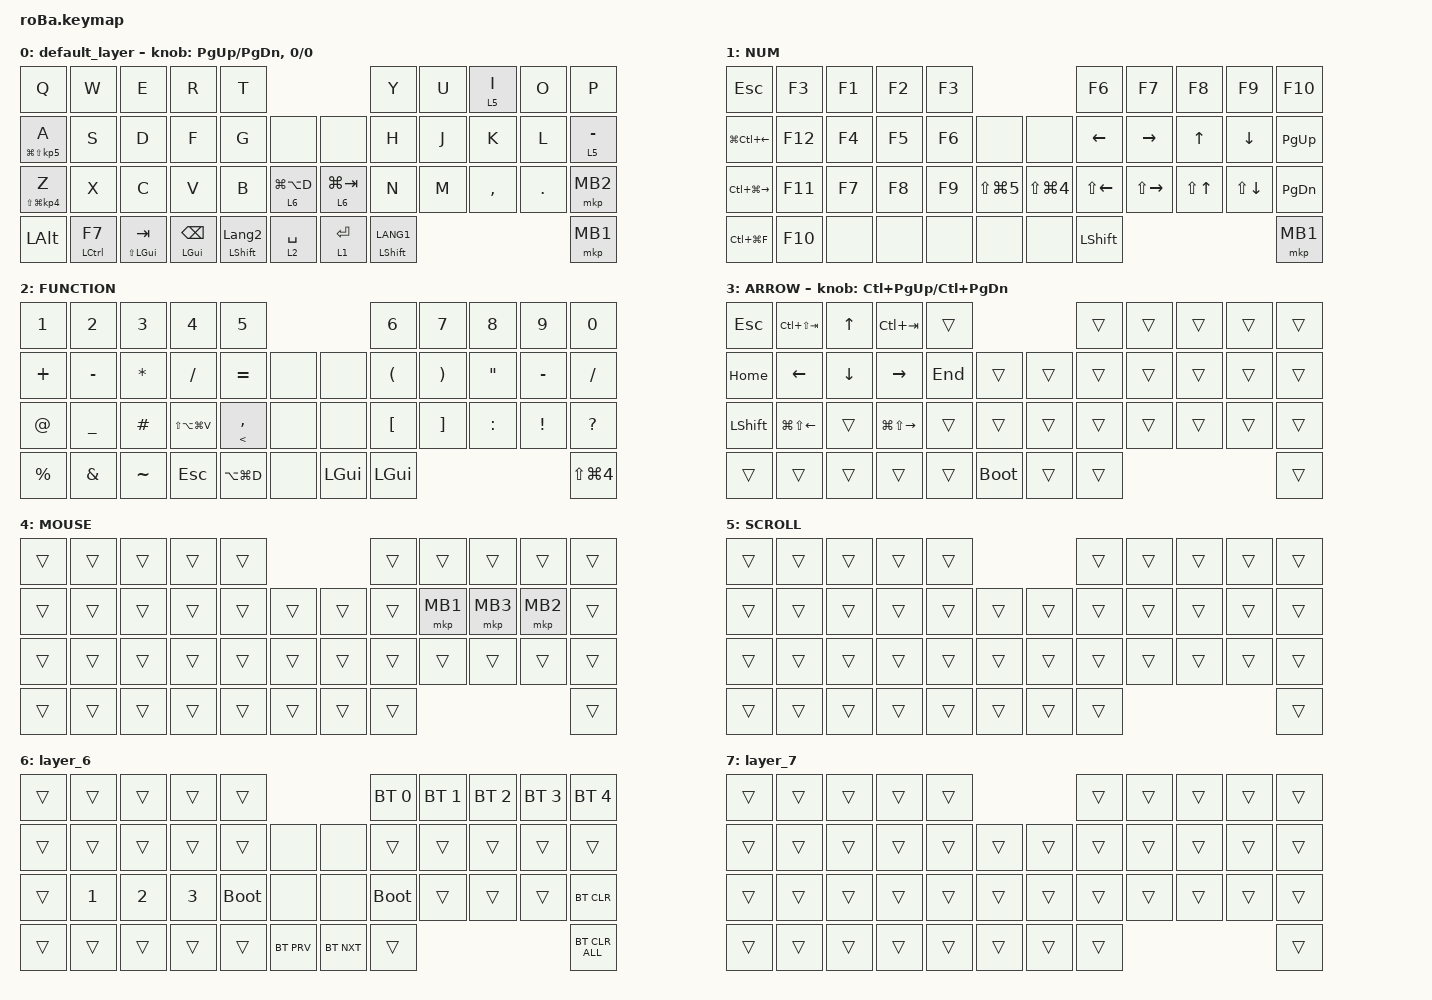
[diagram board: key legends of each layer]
#include <behaviors.dtsi>
#include <dt-bindings/zmk/bt.h>
#include <dt-bindings/zmk/keys.h>
#include <dt-bindings/zmk/pointing.h>

&mt {
    flavor = "balanced";
    quick-tap-ms = <0>;
};

&trackball {
    automouse-layer = <4>;
    scroll-layers = <5>;

    // arrows {
    //     layers = <3>;
    //     bindings =
    //         <&kp RIGHT_ARROW>,
    //         <&kp LEFT_ARROW>,
    //         <&kp UP_ARROW>,
    //         <&kp DOWN_ARROW>;
    //     tick = <10>;
    //     wait-ms = <5>;
    //     tap-ms = <5>;
    // };
};

/ {
    combos {
        compatible = "zmk,combos";

        tab {
            bindings = <&kp TAB>;
            key-positions = <11 12>;
        };

        shift_tab {
            bindings = <&kp LS(TAB)>;
            key-positions = <12 13>;
        };

        muhennkann {
            bindings = <&to_layer_0 INT_MUHENKAN>;
            key-positions = <11 10>;
        };

        double_quotation {
            bindings = <&kp DOUBLE_QUOTES>;
            key-positions = <20 21>;
        };

        eq {
            bindings = <&kp EQUAL>;
            key-positions = <24 25>;
        };
    };

    macros {
        to_layer_0: to_layer_0 {
            compatible = "zmk,behavior-macro-one-param";
            #binding-cells = <1>;
            bindings = <&to 0 &macro_param_1to1 &kp MACRO_PLACEHOLDER>;
            label = "TO_LAYER_0";
        };
    };

    behaviors {
        lt_to_layer_0: lt_to_layer_0 {
            compatible = "zmk,behavior-hold-tap";
            label = "LAYER_TAP_TO_0";
            bindings = <&mo>, <&to_layer_0>;

            #binding-cells = <2>;
            tapping-term-ms = <200>;
        };
    };

    keymap {
        compatible = "zmk,keymap";

        default_layer {
            bindings = <
&kp Q                      &kp W                &kp E                 &kp R                   &kp T                                                          &kp Y                 &kp U  &lt 5 I    &kp O    &kp P
&mt LG(LS(KP_NUMBER_5)) A  &kp S                &kp D                 &kp F                   &kp G                      &none                &none          &kp H                 &kp J  &kp K      &kp L    &lt 5 MINUS
&mt LS(LG(KP_NUMBER_4)) Z  &kp X                &kp C                 &kp V                   &kp B                      &lt 6 LG(LA(D))      &lt 6 LG(TAB)  &kp N                 &kp M  &kp COMMA  &kp DOT  &mkp MB2
&kp LEFT_ALT               &mt LEFT_CONTROL F7  &mt LS(LEFT_GUI) TAB  &mt LEFT_GUI BACKSPACE  &mt LEFT_SHIFT LANGUAGE_2  &lt 2 SPACE          &lt 1 ENTER    &mt LEFT_SHIFT LANG1                             &mkp MB1
            >;

            sensor-bindings = <&inc_dec_kp PG_UP PAGE_DOWN>, <&inc_dec_kp 0 0>;
        };

        NUM {
            bindings = <
&kp ESCAPE               &kp F3   &kp F1  &kp F2  &kp F3                                            &kp F6              &kp F7         &kp F8            &kp F9        &kp F10
&kp LG(LC(LEFT_ARROW))   &kp F12  &kp F4  &kp F5  &kp F6  &none               &none                 &kp LEFT            &kp RIGHT      &kp UP_ARROW      &kp DOWN      &kp PAGE_UP
&kp LC(LG(RIGHT_ARROW))  &kp F11  &kp F7  &kp F8  &kp F9  &kp LS(LG(N5))      &kp LS(LG(NUMBER_4))  &kp LS(LEFT_ARROW)  &kp LS(RIGHT)  &kp LS(UP_ARROW)  &kp LS(DOWN)  &kp PAGE_DOWN
&kp LC(LG(F))            &kp F10  &none   &none   &none   &none               &none                 &kp LEFT_SHIFT                                                     &mkp MB1
            >;
        };

        FUNCTION {
            bindings = <
&kp NUMBER_1  &kp NUMBER_2   &kp NUMBER_3  &kp NUMBER_4       &kp N5                                        &kp NUMBER_6          &kp N7                 &kp N8             &kp N9           &kp N0
&kp PLUS      &kp MINUS      &kp ASTRK     &kp SLASH          &kp EQUAL            &none      &none         &kp LEFT_PARENTHESIS  &kp RIGHT_PARENTHESIS  &kp DOUBLE_QUOTES  &kp MINUS        &kp SLASH
&kp AT_SIGN   &kp UNDER      &kp HASH      &kp LS(LA(LG(V)))  &mt LESS_THAN COMMA  &none      &none         &kp LEFT_BRACKET      &kp RIGHT_BRACKET      &kp COLON          &kp EXCLAMATION  &kp QUESTION
&kp PERCENT   &kp AMPERSAND  &kp TILDE     &kp ESCAPE         &kp LA(LG(D))        &none      &kp LEFT_GUI  &kp LGUI                                                                         &kp LS(LG(NUMBER_4))
            >;
        };

        ARROW {
            bindings = <
&kp ESCAPE      &kp LC(LS(TAB))         &kp UP_ARROW    &kp LC(TAB)              &trans                            &trans  &trans  &trans  &trans  &trans
&kp HOME        &kp LEFT_ARROW          &kp DOWN_ARROW  &kp RIGHT_ARROW          &kp END  &trans           &trans  &trans  &trans  &trans  &trans  &trans
&kp LEFT_SHIFT  &kp LG(LS(LEFT_ARROW))  &trans          &kp LG(LS(RIGHT_ARROW))  &trans   &trans           &trans  &trans  &trans  &trans  &trans  &trans
&trans          &trans                  &trans          &trans                   &trans   &bootloader      &trans  &trans                          &trans
            >;

            sensor-bindings = <&inc_dec_kp LC(PAGE_UP) LC(PAGE_DOWN)>;
        };

        MOUSE {
            bindings = <
&trans  &trans  &trans  &trans  &trans                      &trans  &trans    &trans    &trans    &trans
&trans  &trans  &trans  &trans  &trans  &trans      &trans  &trans  &mkp MB1  &mkp MB3  &mkp MB2  &trans
&trans  &trans  &trans  &trans  &trans  &trans      &trans  &trans  &trans    &trans    &trans    &trans
&trans  &trans  &trans  &trans  &trans  &trans      &trans  &trans                                &trans
            >;
        };

        SCROLL {
            bindings = <
&trans  &trans  &trans  &trans  &trans                      &trans  &trans  &trans  &trans  &trans
&trans  &trans  &trans  &trans  &trans  &trans      &trans  &trans  &trans  &trans  &trans  &trans
&trans  &trans  &trans  &trans  &trans  &trans      &trans  &trans  &trans  &trans  &trans  &trans
&trans  &trans  &trans  &trans  &trans  &trans      &trans  &trans                          &trans
            >;
        };

        layer_6 {
            bindings = <
&trans  &trans        &trans        &trans        &trans                                   &bt BT_SEL 0  &bt BT_SEL 1  &bt BT_SEL 2  &bt BT_SEL 3  &bt BT_SEL 4
&trans  &trans        &trans        &trans        &trans       &none           &none       &trans        &trans        &trans        &trans        &trans
&trans  &kp NUMBER_1  &kp NUMBER_2  &kp NUMBER_3  &bootloader  &none           &none       &bootloader   &trans        &trans        &trans        &bt BT_CLR
&trans  &trans        &trans        &trans        &trans       &bt BT_PRV      &bt BT_NXT  &trans                                                  &bt BT_CLR_ALL
            >;
        };

        layer_7 {
            bindings = <
&trans  &trans  &trans  &trans  &trans                      &trans  &trans  &trans  &trans  &trans
&trans  &trans  &trans  &trans  &trans  &trans      &trans  &trans  &trans  &trans  &trans  &trans
&trans  &trans  &trans  &trans  &trans  &trans      &trans  &trans  &trans  &trans  &trans  &trans
&trans  &trans  &trans  &trans  &trans  &trans      &trans  &trans                          &trans
            >;
        };
    };
};
